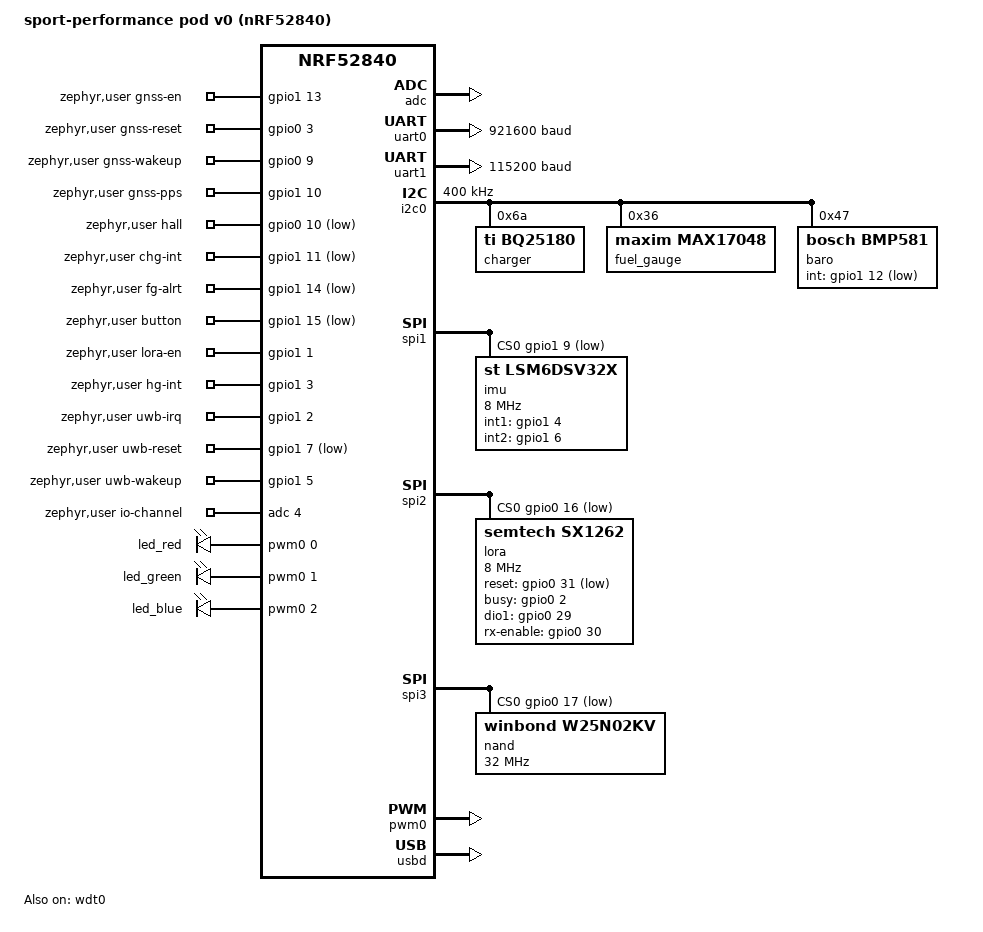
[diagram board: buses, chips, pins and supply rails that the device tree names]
/*
 * Pod v0 (B-909): u-blox BMD-340 (nRF52840), LC29H, Ai-Thinker Ra-01SH (SX1262),
 * LSM6DSV32X, W25N02KV, BQ25180, MAX17048, BMP581 (in-stock redesign of
 * 09/11/2026). Every pin comes from docs/hardware/pod-v0.md ("Pines del
 * nRF52840"); keep both in sync. The nRF52840 port pins are the same as with
 * the Raytac module: only the module pads in the comments changed.
 */

/dts-v1/;
#include <nordic/nrf52840_qiaa.dtsi>
#include "pod_v0_nrf52840-pinctrl.dtsi"

/ {
	model = "sport-performance pod v0 (nRF52840)";
	compatible = "sport-performance,pod-v0";

	chosen {
		zephyr,console = &uart1;
		zephyr,shell-uart = &uart1;
		zephyr,code-partition = &slot0_partition;
		zephyr,flash = &flash0;
		zephyr,sram = &sram0;
	};

	/*
	 * Application GPIOs without a Zephyr driver (read by app/src/*.c with
	 * GPIO_DT_SPEC_GET_OR). Every enable has a 100 kΩ pull-down on the board,
	 * so the rails stay off during reset, DFU and the System OFF wake-up.
	 */
	zephyr,user {
		gnss-uart = <&uart0>;
		/* EN of the 3,2 V LDO of the GNSS (active discharge): the GNSS power cut. */
		gnss-en-gpios = <&gpio1 13 GPIO_ACTIVE_HIGH>;	/* GNSS_EN, pad 62 */
		/* NPN/NMOS open drain to RESET_N: high here = module in reset (≥ 100 ms). */
		gnss-reset-gpios = <&gpio0 3 GPIO_ACTIVE_HIGH>;	/* GNSS_RST, pad 19 */
		/* WAKEUP (3,0–3,6 V high): ≥ 10 ms pulse out of backup, input otherwise. */
		gnss-wakeup-gpios = <&gpio0 9 GPIO_ACTIVE_HIGH>;	/* GNSS_WAKEUP, pad 25 (NFC1) */
		/* 1PPS: GPIOTE → PPI → TIMER capture (app/src/time_base.c). */
		gnss-pps-gpios = <&gpio1 10 (GPIO_ACTIVE_HIGH | GPIO_PULL_UP)>;	/* pad 53 */
		/* DRV5032FA (or FB) push-pull through a series resistor: low = pod in the vest. */
		hall-gpios = <&gpio0 10 GPIO_ACTIVE_LOW>;	/* HALL_INT, pad 26 (NFC2) */
		/* BQ25180 /INT, open drain, 128 µs pulse. */
		chg-int-gpios = <&gpio1 11 (GPIO_ACTIVE_LOW | GPIO_PULL_UP)>;	/* pad 54 */
		/* MAX17048 /ALRT, open drain. */
		fg-alrt-gpios = <&gpio1 14 (GPIO_ACTIVE_LOW | GPIO_PULL_UP)>;	/* pad 63 */
		/* Bench button to GND. */
		button-gpios = <&gpio1 15 (GPIO_ACTIVE_LOW | GPIO_PULL_UP)>;	/* pad 64 */
		/* ON of the TPS22919 load switch of the Ra-01SH (U303). */
		lora-en-gpios = <&gpio1 1 GPIO_ACTIVE_HIGH>;	/* LORA_EN, pad 57 */
		/* ADXL372 INT1 (not mounted) or NAND_EN by 0 Ω: one or the other. */
		hg-int-gpios = <&gpio1 3 GPIO_ACTIVE_HIGH>;	/* pad 59 */
		/* DWM3000 (not mounted). */
		uwb-irq-gpios = <&gpio1 2 GPIO_ACTIVE_HIGH>;	/* pad 58 */
		uwb-reset-gpios = <&gpio1 7 (GPIO_ACTIVE_LOW | GPIO_OPEN_DRAIN)>;	/* pad 50 */
		uwb-wakeup-gpios = <&gpio1 5 GPIO_ACTIVE_HIGH>;	/* pad 48 */
		/* Divider from SYS (not mounted) on AIN4: rescue if the MAX17048 fails. */
		io-channels = <&adc 4>;	/* VBAT_ADC = P0.28, pad 9 */
	};

	pwmleds {
		compatible = "pwm-leds";

		led_red: led_red {
			pwms = <&pwm0 0 PWM_USEC(1000) PWM_POLARITY_NORMAL>;
		};
		led_green: led_green {
			pwms = <&pwm0 1 PWM_USEC(1000) PWM_POLARITY_NORMAL>;
		};
		led_blue: led_blue {
			pwms = <&pwm0 2 PWM_USEC(1000) PWM_POLARITY_NORMAL>;
		};
	};

	aliases {
		watchdog0 = &wdt0;
		led-red = &led_red;
		led-green = &led_green;
		led-blue = &led_blue;
	};
};

/*
 * REG0 (the VDDH stage) is not used: VDD and VDDH both on VREG (normal voltage
 * mode) and DCCH unconnected (pod-v0.md), so its DC/DC stays off. No &reg0 node.
 */

/*
 * VCC and VCCH of the BMD-340 tied to VREG (3,4 V): LV (normal) mode of its data
 * sheet (table 8), DC/DC of Reg1 on (inductor inside the module).
 */
&reg1 {
	regulator-initial-mode = <NRF5X_REG_MODE_DCDC>;
};

/*
 * UICR, written at the first programming (production step, B-909): NFC pads
 * P0.09/P0.10 as GPIO (GNSS WAKEUP and Hall) and P0.18 as nRESET.
 */
&uicr {
	nfct-pins-as-gpios;
	gpio-as-nreset;
};

&nfct {
	status = "disabled";
};

&gpiote {
	status = "okay";
};

&gpio0 {
	status = "okay";
	/* XL1/XL2 carry the 32,768 kHz crystal; P0.18 is nRESET. */
	gpio-reserved-ranges = <0 2>, <18 1>;
};

&gpio1 {
	status = "okay";
};

&adc {
	status = "okay";
};

&wdt0 {
	status = "okay";
};

/* GNSS, 921600 bps by default (lc29h-protocolo.md); the driver falls back to 115200. */
&uart0 {
	compatible = "nordic,nrf-uarte";
	status = "okay";
	current-speed = <921600>;
	pinctrl-0 = <&uart0_default>;
	pinctrl-1 = <&uart0_sleep>;
	pinctrl-names = "default", "sleep";
};

/* Backup console. */
&uart1 {
	compatible = "nordic,nrf-uarte";
	status = "okay";
	current-speed = <115200>;
	pinctrl-0 = <&uart1_default>;
	pinctrl-1 = <&uart1_sleep>;
	pinctrl-names = "default", "sleep";
};

&i2c0 {
	compatible = "nordic,nrf-twim";
	status = "okay";
	clock-frequency = <I2C_BITRATE_FAST>;
	pinctrl-0 = <&i2c0_default>;
	pinctrl-1 = <&i2c0_sleep>;
	pinctrl-names = "default", "sleep";

	/* The application writes its registers itself (pod/power.h): the Zephyr driver stays off. */
	charger: bq25180@6a {
		compatible = "ti,bq25180";
		reg = <0x6a>;
	};

	/* VDD and CELL on the cell: measures even with SYS cut. Address not verified. */
	fuel_gauge: max17048@36 {
		compatible = "maxim,max17048";
		reg = <0x36>;
	};

	/* SDO to VDDIO (0x47), CSB to VDDIO (I2C), INT open drain active low. Not verified. */
	baro: bmp581@47 {
		compatible = "bosch,bmp581";
		reg = <0x47>;
		int-gpios = <&gpio1 12 (GPIO_ACTIVE_LOW | GPIO_PULL_UP)>;	/* BARO_INT, pad 61 */
	};
};

&spi1 {
	compatible = "nordic,nrf-spim";
	status = "okay";
	pinctrl-0 = <&spi1_default>;
	pinctrl-1 = <&spi1_sleep>;
	pinctrl-names = "default", "sleep";
	cs-gpios = <&gpio1 9 GPIO_ACTIVE_LOW>,	/* IMU_CS, pad 52 */
		   <&gpio0 27 GPIO_ACTIVE_LOW>,	/* UWB_CS, pad 8 (static CS) */
		   <&gpio0 26 GPIO_ACTIVE_LOW>;	/* HG_CS, pad 7 (static CS) */

	/*
	 * LSM6DSV32X (WHO_AM_I 0x70): driven by the lsm6dsv16x driver of NCS 3.4.1
	 * (compatible st,lsm6dsv32x). Channel 1 at ±16 g for the run; the second
	 * channel, fixed at ±32 g, is read by imu_batch (firmware/README.md).
	 */
	imu: lsm6dsv32x@0 {
		compatible = "st,lsm6dsv32x";
		reg = <0>;
		spi-max-frequency = <8000000>;
		accel-range = <16>;
		int1-gpios = <&gpio1 4 GPIO_ACTIVE_HIGH>;	/* IMU_INT1, pad 60: motion wake-up */
		int2-gpios = <&gpio1 6 GPIO_ACTIVE_HIGH>;	/* IMU_INT2, pad 49 */
	};

	/*
	 * ADXL372 (±200 g, U403): mounted only on the pod-v0-highg assembly variant
	 * (2 of the 5 v0 boards). Enable it there with boards/pod_v0_highg.overlay.
	 */
	hg_accel: adxl372@2 {
		compatible = "adi,adxl372";
		reg = <2>;
		spi-max-frequency = <8000000>;
		int1-gpios = <&gpio1 3 GPIO_ACTIVE_HIGH>;	/* HG_INT, pad 59 */
		status = "disabled";
	};
};

&spi2 {
	compatible = "nordic,nrf-spim";
	status = "okay";
	pinctrl-0 = <&spi2_default>;
	pinctrl-1 = <&spi2_sleep>;
	pinctrl-names = "default", "sleep";
	cs-gpios = <&gpio0 16 GPIO_ACTIVE_LOW>;	/* LORA_NSS, pad 34 */

	/*
	 * Ai-Thinker Ra-01SH: plain crystal, no TCXO (no dio3-tcxo-voltage). Its RF
	 * switch follows DIO2 inside the module (TXEN tied to DIO2, module schematic);
	 * RXEN is driven anyway, high to receive. Frequency error checked on the
	 * bench (pod-v0.md); fallback with TCXO: NiceRF LoRa1262-915TCXO.
	 */
	lora: ra01sh@0 {
		compatible = "semtech,sx1262";
		reg = <0>;
		spi-max-frequency = <8000000>;
		reset-gpios = <&gpio0 31 GPIO_ACTIVE_LOW>;	/* LORA_NRST, pad 12 */
		busy-gpios = <&gpio0 2 GPIO_ACTIVE_HIGH>;	/* LORA_BUSY, pad 15 */
		dio1-gpios = <&gpio0 29 GPIO_ACTIVE_HIGH>;	/* LORA_DIO1, pad 10 */
		rx-enable-gpios = <&gpio0 30 GPIO_ACTIVE_HIGH>;	/* LORA_RXEN, pad 11 */
		dio2-tx-enable;
	};
};

&spi3 {
	compatible = "nordic,nrf-spim";
	status = "okay";
	pinctrl-0 = <&spi3_default>;
	pinctrl-1 = <&spi3_sleep>;
	pinctrl-names = "default", "sleep";
	cs-gpios = <&gpio0 17 GPIO_ACTIVE_LOW>;	/* NAND_CS, pad 35 */
	/* Errata 198: the SPIM3 buffers live in their own RAM block (app/src/log_nand.c). */

	nand: w25n02kv@0 {
		compatible = "winbond,w25n02kv";
		reg = <0>;
		spi-max-frequency = <32000000>;
		blocks = <2048>;
		pages-per-block = <64>;
		jedec-device-id = <0xaa22>;
	};
};

&pwm0 {
	status = "okay";
	pinctrl-0 = <&pwm0_default>;
	pinctrl-1 = <&pwm0_sleep>;
	pinctrl-names = "default", "sleep";
};

/* Buzzer, not mounted. */
&pwm1 {
	status = "disabled";
	pinctrl-0 = <&pwm1_default>;
	pinctrl-1 = <&pwm1_sleep>;
	pinctrl-names = "default", "sleep";
};

/*
 * Flash layout, pinned here (no Partition Manager, SB_CONFIG_PARTITION_MANAGER=n):
 * MCUboot, two application slots of 472 KB for the swap (ADR 0106: about
 * 450 KB each) and the NVS of the persistent counters at the end. Changing
 * these addresses in an update would lose the boot counter and the page
 * sequence reservation: never move `storage_partition`.
 */
&flash0 {
	partitions {
		ranges;
		#address-cells = <1>;
		#size-cells = <1>;

		boot_partition: partition@0 {
			compatible = "zephyr,mapped-partition";
			label = "mcuboot";
			reg = <0x00000000 0x0000c000>;
		};
		slot0_partition: partition@c000 {
			compatible = "zephyr,mapped-partition";
			label = "image-0";
			reg = <0x0000c000 0x00076000>;
		};
		slot1_partition: partition@82000 {
			compatible = "zephyr,mapped-partition";
			label = "image-1";
			reg = <0x00082000 0x00076000>;
		};
		storage_partition: partition@f8000 {
			compatible = "zephyr,mapped-partition";
			label = "storage";
			reg = <0x000f8000 0x00008000>;
		};
	};
};

/* USB through the dock pads (D+/D- pads 68/67, VBUS pad 66 after the input switch). */
zephyr_udc0: &usbd {
	compatible = "nordic,nrf-usbd";
	status = "okay";
};
